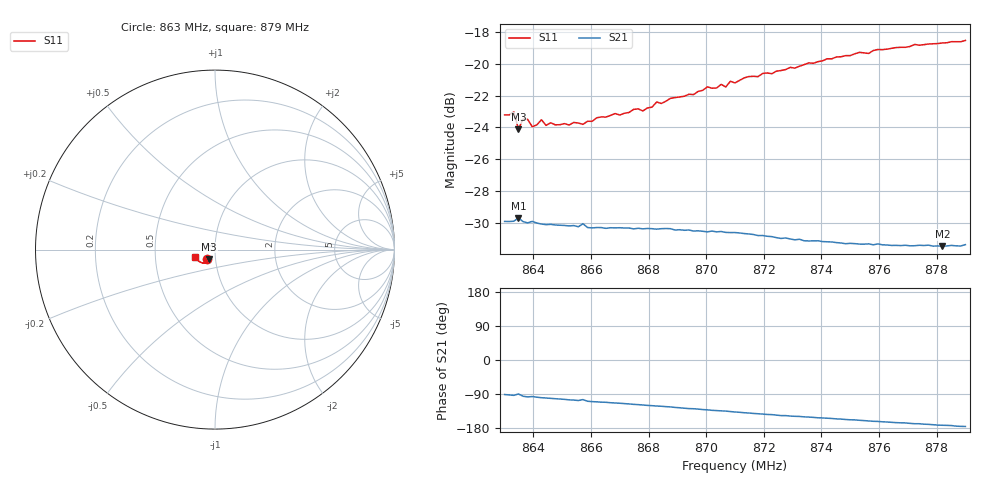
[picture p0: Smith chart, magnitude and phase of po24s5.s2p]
# HZ S RI R 50
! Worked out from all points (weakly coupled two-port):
!   101 points, 863 MHz to 879 MHz, reference 50 ohm
!   highest |S21| = -29.70 dB at 863.48 MHz (marker M1); lowest = -31.5 dB at 878.2 MHz (marker M2)
!   lowest |S11| = -24.1 dB at 863.48 MHz (marker M3), VSWR 1.13, Z = 46.5 - j4.91 ohm
!   |S11| at or under -10 dB: start of sweep to end of sweep
!   S12 and S22 are empty: the file has one direction only
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8.63e8  -0.0456 -0.0518  -0.000633 -0.0319  0 0  0 0
8.6332e8  -0.0468 -0.0528  -0.00185 -0.0319  0 0  0 0
8.6348e8  -0.0334 -0.0526  0.000236 -0.0327  0 0  0 0
8.6364e8  -0.0435 -0.0509  -0.00316 -0.0317  0 0  0 0
8.638e8  -0.0416 -0.0523  -0.00405 -0.0313  0 0  0 0
8.6396e8  -0.0372 -0.0513  -0.00357 -0.0317  0 0  0 0
8.6428e8  -0.0377 -0.0549  -0.00518 -0.0309  0 0  0 0
8.6444e8  -0.0363 -0.0527  -0.00558 -0.0307  0 0  0 0
8.6556e8  -0.0343 -0.0553  -0.00894 -0.0294  0 0  0 0
8.6572e8  -0.0314 -0.0563  -0.00784 -0.0304  0 0  0 0
8.6604e8  -0.0332 -0.0569  -0.0103 -0.0287  0 0  0 0
8.6844e8  -0.0353 -0.0661  -0.0161 -0.0257  0 0  0 0
8.6956e8  -0.0398 -0.0694  -0.0186 -0.0233  0 0  0 0
8.7004e8  -0.0426 -0.0731  -0.0196 -0.0222  0 0  0 0
8.7068e8  -0.0441 -0.0721  -0.0208 -0.0209  0 0  0 0
8.7084e8  -0.0482 -0.0737  -0.0212 -0.0204  0 0  0 0
8.71e8  -0.047 -0.0732  -0.0216 -0.02  0 0  0 0
8.7148e8  -0.0512 -0.0754  -0.0223 -0.0188  0 0  0 0
8.7372e8  -0.0671 -0.0746  -0.0244 -0.0133  0 0  0 0
8.7644e8  -0.0926 -0.0627  -0.0259 -0.00717  0 0  0 0
8.782e8  -0.106 -0.0476  -0.0265 -0.00361  0 0  0 0
8.79e8  -0.1117 -0.0391  -0.0269 -0.00216  0 0  0 0
